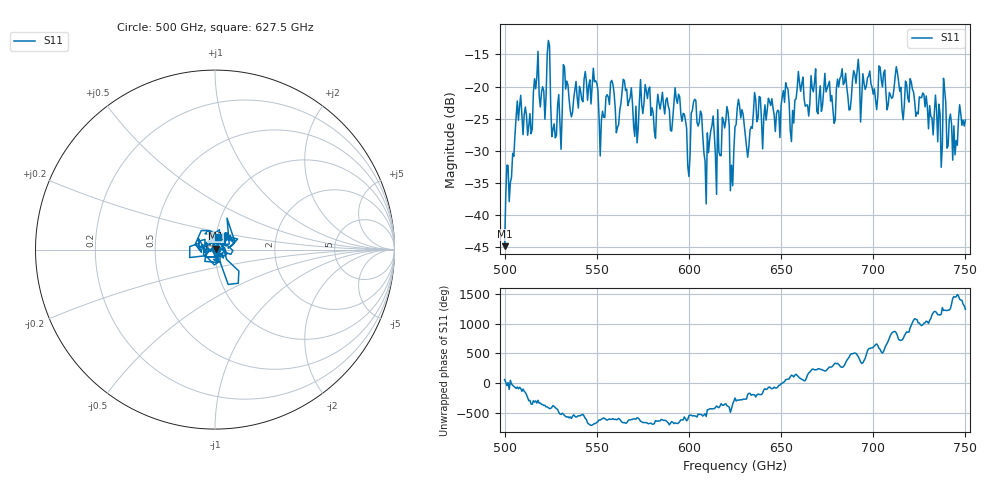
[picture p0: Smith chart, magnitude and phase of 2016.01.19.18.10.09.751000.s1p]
!Created with skrf (http://scikit-rf.org).
# GHz S RI R 50.0
!freq ReS11 ImS11
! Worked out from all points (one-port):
!   401 points, 500 GHz to 750 GHz, reference 50 ohm
!   lowest |S11| = -44.8 dB at 500 GHz (marker M1), VSWR 1.01, Z = 50.3 + j0.492 ohm
!   |S11| at or under -10 dB: start of sweep to end of sweep
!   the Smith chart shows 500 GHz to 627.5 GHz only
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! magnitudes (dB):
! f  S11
! 500 GHz  -44.8
! 507.5 GHz  -25.2
! 513.8 GHz  -24.2
! 516.9 GHz  -20.3
! 520.6 GHz  -20.0
! 523.8 GHz  -12.8
! 526.9 GHz  -25.8
! 531.2 GHz  -24.0
! 548.8 GHz  -19.3
! 552.5 GHz  -25.3
! 558.1 GHz  -19.0
! 562.5 GHz  -23.6
! 593.8 GHz  -22.6
! 599.4 GHz  -32.4
! 602.5 GHz  -22.4
! 609.4 GHz  -38.2
! 620 GHz  -25.3
! 623.1 GHz  -32.2
! 625 GHz  -26.3
! 627.5 GHz  -23.1
! 631.9 GHz  -31.0
! 652.5 GHz  -19.4
! 656.2 GHz  -23.7
! 660.6 GHz  -20.7
! 687.5 GHz  -23.5
! 718.8 GHz  -21.8
! 744.4 GHz  -30.6
! 750 GHz  -25.2
